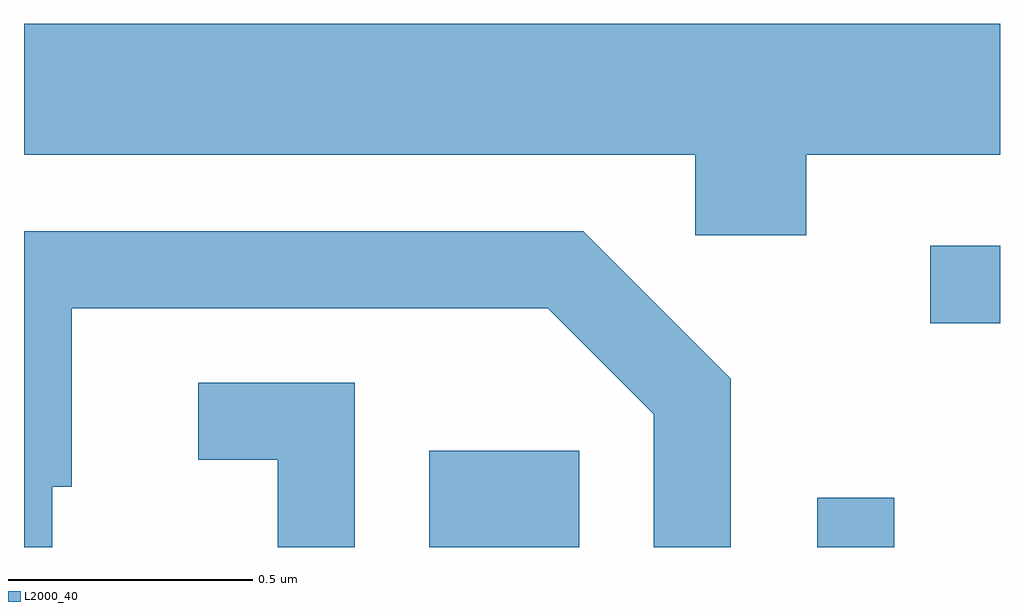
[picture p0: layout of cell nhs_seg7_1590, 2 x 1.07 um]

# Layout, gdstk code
import gdstk
lib = gdstk.Library(unit=1e-6, precision=1e-09)
def R(c, l, rs):  # rectangles x0, y0, x1, y1
    for r in rs: c.add(gdstk.rectangle(r[:2], r[2:], *l))
def P(c, l, *ps):  # polygons
    for p in ps: c.add(gdstk.Polygon(p, *l))
L2000_40 = (2000, 40)

nhs_seg7_1590 = lib.new_cell('nhs_seg7_1590')
R(nhs_seg7_1590, L2000_40, [(197.441,1751.252,197.749,1751.449), (198.236,1751.252,198.394,1751.353), (198.468,1751.711,198.611,1751.869)])
P(nhs_seg7_1590, L2000_40, [(198.214,1752.056),(198.611,1752.056),(198.611,1752.324),(196.611,1752.324),(196.611,1752.056),(197.986,1752.056),(197.986,1751.891),(198.214,1751.891)],
  [(196.669,1751.376),(196.709,1751.376),(196.709,1751.741),(197.684,1751.741),(197.901,1751.524),(197.901,1751.252),(198.059,1751.252),(198.059,1751.597),(197.757,1751.899),(196.611,1751.899),(196.611,1751.252),(196.669,1751.252)],
  [(197.289,1751.589),(196.968,1751.589),(196.968,1751.431),(197.131,1751.431),(197.131,1751.252),(197.289,1751.252)])

lib.write_gds('nhs_seg7_1590.gds')
